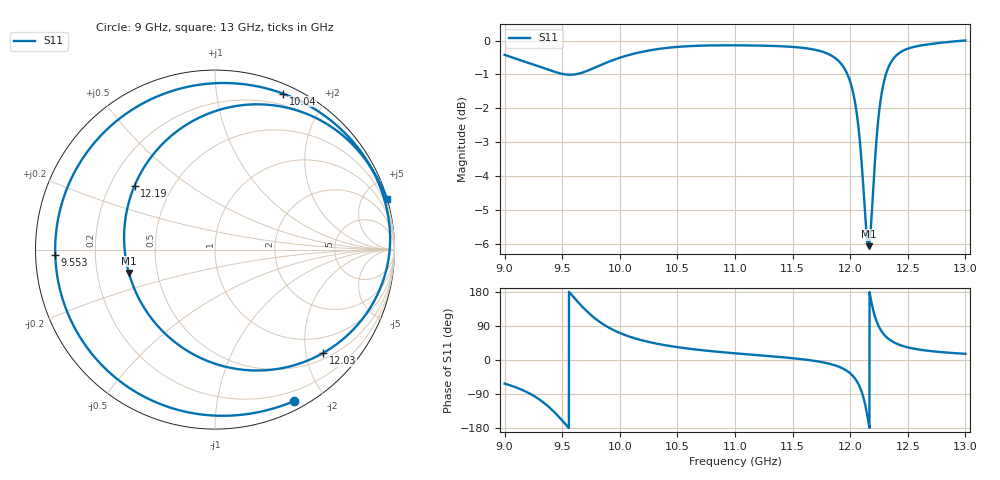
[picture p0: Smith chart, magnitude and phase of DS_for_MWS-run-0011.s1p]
! TOUCHSTONE file generated by CST DESIGN STUDIO
! Date and time: Tue Feb  4 14:26:56 2025
! Project name: C:\Work\MatlabApps\UnitCellOptimizationMatlab\CST\unitcell.cst
! Tree item: Tasks\Sweep1\SPara1\S-Parameters
! Header version: 2024
! Port assignment regex: !\s*Touchstone port\s*([0-9]+)\s*=\s*(CST MWS port|CST DES external port|CST DES block port)\s*(.+)\s* \(\"(.*)\"\)(\s*mode\s*([0-9]+))?.*
! Touchstone port assignment:
! Touchstone port 1 = CST DES external port 1 ("")
# GHz S MA R 50
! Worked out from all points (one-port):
!   4001 points, 9 GHz to 13 GHz, reference 50 ohm
!   lowest |S11| = -6.1 dB at 12.16 GHz (marker M1), VSWR 2.98, Z = 17.1 - j5.89 ohm
!   |S11| at or under -10 dB: nowhere
!   S11 on the Smith chart (normalised r, x): 9 GHz: 0.09, -1.65; 9.553 GHz: 0.06, -0.02; 10.04 GHz: 0.09, +1.52; 12.03 GHz: 0.62, -2.35; 12.19 GHz: 0.30, +0.32; 13 GHz: -0.01, +6.98
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9  0.9528 -62.4
9.16  0.9329 -79.9
9.309  0.9149 -105.7
9.406  0.9028 -130.0
9.5  0.8931 -159.6
9.553  0.8906 -178.0
9.638  0.8933 152.5
9.754  0.9078 117.6
9.858  0.924 93.9
10  0.9435 71.3
10.04  0.9482 66.5
10.239  0.9661 48.4
10.5  0.9789 33.9
11  0.9842 17.6
11.5  0.9789 4.8
11.847  0.9482 -12.2
12  0.8695 -35.2
12.028  0.8339 -43.7
12.066  0.7595 -60.4
12.104  0.6436 -87.9
12.131  0.5477 -119.3
12.159  0.4971 -164.8
12.192  0.5724 141.5
12.228  0.7137 102.9
12.269  0.828 77.2
12.36  0.9326 49.9
12.5  0.973 33.4
13  1.001 16.3
